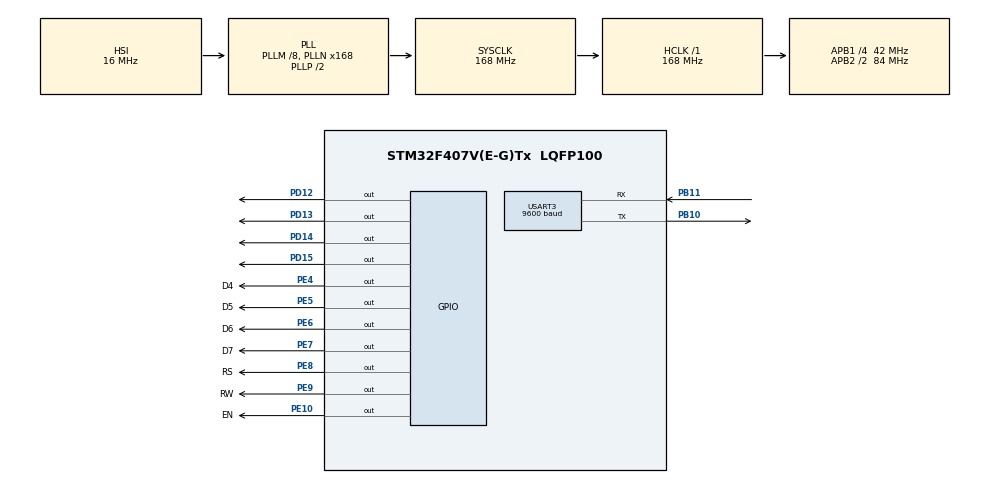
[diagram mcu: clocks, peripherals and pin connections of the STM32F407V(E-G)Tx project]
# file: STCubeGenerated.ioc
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Dma.Request0=USART3_RX
Dma.Request1=USART3_TX
Dma.USART3_RX.0.Direction=DMA_PERIPH_TO_MEMORY
Dma.USART3_RX.0.FIFOMode=DMA_FIFOMODE_DISABLE
Dma.USART3_RX.0.Instance=DMA1_Stream1
Dma.USART3_RX.0.MemDataAlignment=DMA_MDATAALIGN_BYTE
Dma.USART3_RX.0.MemInc=DMA_MINC_ENABLE
Dma.USART3_RX.0.Mode=DMA_CIRCULAR
Dma.USART3_RX.0.PeriphDataAlignment=DMA_PDATAALIGN_BYTE
Dma.USART3_RX.0.PeriphInc=DMA_PINC_DISABLE
Dma.USART3_RX.0.Priority=DMA_PRIORITY_LOW
Dma.USART3_TX.1.Direction=DMA_MEMORY_TO_PERIPH
Dma.USART3_TX.1.FIFOMode=DMA_FIFOMODE_DISABLE
Dma.USART3_TX.1.Instance=DMA1_Stream3
Dma.USART3_TX.1.MemDataAlignment=DMA_MDATAALIGN_BYTE
Dma.USART3_TX.1.MemInc=DMA_MINC_ENABLE
Dma.USART3_TX.1.Mode=DMA_CIRCULAR
Dma.USART3_TX.1.PeriphDataAlignment=DMA_PDATAALIGN_BYTE
Dma.USART3_TX.1.PeriphInc=DMA_PINC_DISABLE
Dma.USART3_TX.1.Priority=DMA_PRIORITY_LOW
Mcu.Family=STM32F4
Mcu.Name=STM32F407V(E-G)Tx
Mcu.Package=LQFP100
NVIC.DMA1_Stream1_IRQn=true\:1\:0\:true\:false\:true\:false\:true\:true
NVIC.DMA1_Stream3_IRQn=true\:0\:0\:true\:false\:true\:false\:true\:true
NVIC.PriorityGroup=NVIC_PRIORITYGROUP_4
PB10.Mode=Asynchronous
PB10.Signal=USART3_TX
PB11.Mode=Asynchronous
PB11.Signal=USART3_RX
PD12.Signal=GPIO_Output
PD13.Signal=GPIO_Output
PD14.Signal=GPIO_Output
PD15.Signal=GPIO_Output
PE10.GPIO_Label=EN
PE10.GPIO_ModeDefaultOutputPP=GPIO_MODE_OUTPUT_PP
PE10.GPIO_PuPd=GPIO_NOPULL
PE10.Signal=GPIO_Output
PE4.GPIO_Label=D4
PE4.GPIO_ModeDefaultOutputPP=GPIO_MODE_OUTPUT_PP
PE4.GPIO_PuPd=GPIO_NOPULL
PE4.Signal=GPIO_Output
PE5.GPIO_Label=D5
PE5.GPIO_ModeDefaultOutputPP=GPIO_MODE_OUTPUT_PP
PE5.GPIO_PuPd=GPIO_NOPULL
PE5.Signal=GPIO_Output
PE6.GPIO_Label=D6
PE6.GPIO_ModeDefaultOutputPP=GPIO_MODE_OUTPUT_PP
PE6.GPIO_PuPd=GPIO_NOPULL
PE6.Signal=GPIO_Output
PE7.GPIO_Label=D7
PE7.GPIO_ModeDefaultOutputPP=GPIO_MODE_OUTPUT_PP
PE7.GPIO_PuPd=GPIO_NOPULL
PE7.Signal=GPIO_Output
PE8.GPIO_Label=RS
PE8.GPIO_ModeDefaultOutputPP=GPIO_MODE_OUTPUT_PP
PE8.GPIO_PuPd=GPIO_NOPULL
PE8.Signal=GPIO_Output
PE9.GPIO_Label=RW
PE9.GPIO_ModeDefaultOutputPP=GPIO_MODE_OUTPUT_PP
PE9.GPIO_PuPd=GPIO_NOPULL
PE9.Signal=GPIO_Output
PH0-OSC_IN.Mode=HSE-External-Oscillator
PH0-OSC_IN.Signal=RCC_OSC_IN
PH1-OSC_OUT.Mode=HSE-External-Oscillator
PH1-OSC_OUT.Signal=RCC_OSC_OUT
ProjectManager.HeapSize=0x200
ProjectManager.StackSize=0x400
ProjectManager.TargetToolchain=MDK-ARM V5
RCC.48MHZClocksFreq_Value=84000000
RCC.AHBFreq_Value=168000000
RCC.APB1CLKDivider=RCC_HCLK_DIV4
RCC.APB1Freq_Value=42000000
RCC.APB1TimFreq_Value=84000000
RCC.APB2CLKDivider=RCC_HCLK_DIV2
RCC.APB2Freq_Value=84000000
RCC.APB2TimFreq_Value=168000000
RCC.CortexFreq_Value=168000000
RCC.HCLKFreq_Value=168000000
RCC.HSE_VALUE=8000000
RCC.HSI_VALUE=16000000
RCC.LSE_VALUE=32768
RCC.PLLM=8
RCC.PLLN=168
RCC.SYSCLKFreq_VALUE=168000000
RCC.SYSCLKSource=RCC_SYSCLKSOURCE_PLLCLK
RCC.VCOOutputFreq_Value=336000000
USART3.BaudRate=9600
USART3.VirtualMode=VM_ASYNC
board=custom

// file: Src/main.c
/* USER CODE BEGIN Header */
/**
  ******************************************************************************
  * @file           : main.c
  * @brief          : Main program body
  ******************************************************************************
  * @attention
  *
  * Copyright (c) 2023 STMicroelectronics.
  * All rights reserved.
  *
  * This software is licensed under terms that can be found in the LICENSE file
  * in the root directory of this software component.
  * If no LICENSE file comes with this software, it is provided AS-IS.
  *
  ******************************************************************************
  */
/* USER CODE END Header */
#include "main.h"

/* USER CODE BEGIN Includes */
#include "lcd.h"
#include "stdio.h"

/* USER CODE END Includes */

UART_HandleTypeDef huart3;
DMA_HandleTypeDef hdma_usart3_rx;
DMA_HandleTypeDef hdma_usart3_tx;

void SystemClock_Config(void);
static void MX_GPIO_Init(void);
static void MX_DMA_Init(void);
static void MX_USART3_UART_Init(void);

/* USER CODE BEGIN 0 */

#define bufferSizeTx 8
#define bufferSizeRx 4

	uint8_t send[bufferSizeTx];
	uint8_t receive[bufferSizeTx];

void HAL_UART_TxHalfCpltCallback(UART_HandleTypeDef *huart)
{
  for (int i=0; i<4; i++)
    {
			send[i] = 'z';
    }

}

void HAL_UART_TxCpltCallback(UART_HandleTypeDef *huart)
{

    for (int i=0; i<4; i++)
    {
			send[i] = 'Q';
    }

}

/*
void HAL_UART_RxHalfCpltCallback(UART_HandleTypeDef *huart)
{
	//HAL_UART_Receive_DMA(&huart3, receive, 3);
  HAL_GPIO_TogglePin (GPIOD, GPIO_PIN_13);  // toggle PA0
}
*/

void HAL_UART_RxCpltCallback(UART_HandleTypeDef *huart)
{
  HAL_UART_Receive_DMA(&huart3, receive, bufferSizeRx); //sizeof(receive));
}

/* USER CODE END 0 */

int main(void)
{

  /* MCU Configuration--------------------------------------------------------*/

  /* Reset of all peripherals, Initializes the Flash interface and the Systick. */
  HAL_Init();

  /* Configure the system clock */
  SystemClock_Config();

  /* Initialize all configured peripherals */
  MX_GPIO_Init();
  MX_DMA_Init();
  MX_USART3_UART_Init();
  /* USER CODE BEGIN 2 */

	// lcd_init
	Lcd_HandleTypeDef lcd;
	HAL_GPIO_WritePin(RW_GPIO_Port, RW_Pin, 0);
	Lcd_PortType ports[] = { D4_GPIO_Port, D5_GPIO_Port, D6_GPIO_Port, D7_GPIO_Port };
	Lcd_PinType pins[] = {D4_Pin, D5_Pin, D6_Pin, D7_Pin};
	// declared as global
	// Lcd_HandleTypeDef lcd;
	lcd = Lcd_create(ports, pins, RS_GPIO_Port, RS_Pin, EN_GPIO_Port, EN_Pin, LCD_4_BIT_MODE);

	// write something and wait 3sec
	Lcd_string(&lcd, "BANU Embedded Sys.");
	Lcd_cursor(&lcd, 1,6);
	Lcd_int(&lcd, 2023);
	HAL_Delay(1000);
	Lcd_clear(&lcd);

  /* USER CODE END 2 */

  /* Infinite loop */
  /* USER CODE BEGIN WHILE */

	char str[16];

	HAL_UART_Transmit_DMA(&huart3, send, sizeof(send));
	HAL_UART_Receive_DMA (&huart3, receive, bufferSizeRx);

  while (1)
  {

		HAL_GPIO_TogglePin(GPIOD, GPIO_PIN_15);
		HAL_Delay(10);

		// Lcd_clear(&lcd);
		Lcd_cursor(&lcd, 0,0);
		snprintf(str, 16, "sent: %s", send);
		Lcd_string(&lcd, str);

		Lcd_cursor(&lcd, 1,0);
		snprintf(str, 16, "rcvd: %s", receive);
		Lcd_string(&lcd, str);

		HAL_Delay (1000);

    /* USER CODE END WHILE */

  }
}

void SystemClock_Config(void)
{
  RCC_OscInitTypeDef RCC_OscInitStruct = {0};
  RCC_ClkInitTypeDef RCC_ClkInitStruct = {0};

  /** Configure the main internal regulator output voltage
  */
  __HAL_RCC_PWR_CLK_ENABLE();
  __HAL_PWR_VOLTAGESCALING_CONFIG(PWR_REGULATOR_VOLTAGE_SCALE1);

  /** Initializes the RCC Oscillators according to the specified parameters
  * in the RCC_OscInitTypeDef structure.
  */
  RCC_OscInitStruct.OscillatorType = RCC_OSCILLATORTYPE_HSI;
  RCC_OscInitStruct.HSIState = RCC_HSI_ON;
  RCC_OscInitStruct.HSICalibrationValue = RCC_HSICALIBRATION_DEFAULT;
  RCC_OscInitStruct.PLL.PLLState = RCC_PLL_ON;
  RCC_OscInitStruct.PLL.PLLSource = RCC_PLLSOURCE_HSI;
  RCC_OscInitStruct.PLL.PLLM = 8;
  RCC_OscInitStruct.PLL.PLLN = 168;
  RCC_OscInitStruct.PLL.PLLP = RCC_PLLP_DIV2;
  RCC_OscInitStruct.PLL.PLLQ = 4;
  if (HAL_RCC_OscConfig(&RCC_OscInitStruct) != HAL_OK)
  {
    Error_Handler();
  }

  /** Initializes the CPU, AHB and APB buses clocks
  */
  RCC_ClkInitStruct.ClockType = RCC_CLOCKTYPE_HCLK|RCC_CLOCKTYPE_SYSCLK
                              |RCC_CLOCKTYPE_PCLK1|RCC_CLOCKTYPE_PCLK2;
  RCC_ClkInitStruct.SYSCLKSource = RCC_SYSCLKSOURCE_PLLCLK;
  RCC_ClkInitStruct.AHBCLKDivider = RCC_SYSCLK_DIV1;
  RCC_ClkInitStruct.APB1CLKDivider = RCC_HCLK_DIV4;
  RCC_ClkInitStruct.APB2CLKDivider = RCC_HCLK_DIV2;

  if (HAL_RCC_ClockConfig(&RCC_ClkInitStruct, FLASH_LATENCY_5) != HAL_OK)
  {
    Error_Handler();
  }
}

static void MX_USART3_UART_Init(void)
{

  huart3.Instance = USART3;
  huart3.Init.BaudRate = 9600;
  huart3.Init.WordLength = UART_WORDLENGTH_8B;
  huart3.Init.StopBits = UART_STOPBITS_1;
  huart3.Init.Parity = UART_PARITY_NONE;
  huart3.Init.Mode = UART_MODE_TX_RX;
  huart3.Init.HwFlowCtl = UART_HWCONTROL_NONE;
  huart3.Init.OverSampling = UART_OVERSAMPLING_16;
  if (HAL_UART_Init(&huart3) != HAL_OK)
  {
    Error_Handler();
  }

}

static void MX_DMA_Init(void)
{

  /* DMA controller clock enable */
  __HAL_RCC_DMA1_CLK_ENABLE();

  /* DMA interrupt init */
  /* DMA1_Stream1_IRQn interrupt configuration */
  HAL_NVIC_SetPriority(DMA1_Stream1_IRQn, 1, 0);
  HAL_NVIC_EnableIRQ(DMA1_Stream1_IRQn);
  /* DMA1_Stream3_IRQn interrupt configuration */
  HAL_NVIC_SetPriority(DMA1_Stream3_IRQn, 0, 0);
  HAL_NVIC_EnableIRQ(DMA1_Stream3_IRQn);

}

static void MX_GPIO_Init(void)
{
  GPIO_InitTypeDef GPIO_InitStruct = {0};

  /* GPIO Ports Clock Enable */
  __HAL_RCC_GPIOE_CLK_ENABLE();
  __HAL_RCC_GPIOH_CLK_ENABLE();
  __HAL_RCC_GPIOB_CLK_ENABLE();
  __HAL_RCC_GPIOD_CLK_ENABLE();

  /*Configure GPIO pin Output Level */
  HAL_GPIO_WritePin(GPIOE, D4_Pin|D5_Pin|D6_Pin|D7_Pin
                          |RS_Pin|RW_Pin|EN_Pin, GPIO_PIN_RESET);

  /*Configure GPIO pin Output Level */
  HAL_GPIO_WritePin(GPIOD, GPIO_PIN_12|GPIO_PIN_13|GPIO_PIN_14|GPIO_PIN_15, GPIO_PIN_RESET);

  /*Configure GPIO pins : D4_Pin D5_Pin D6_Pin D7_Pin
                           RS_Pin RW_Pin EN_Pin */
  GPIO_InitStruct.Pin = D4_Pin|D5_Pin|D6_Pin|D7_Pin
                          |RS_Pin|RW_Pin|EN_Pin;
  GPIO_InitStruct.Mode = GPIO_MODE_OUTPUT_PP;
  GPIO_InitStruct.Pull = GPIO_NOPULL;
  GPIO_InitStruct.Speed = GPIO_SPEED_FREQ_LOW;
  HAL_GPIO_Init(GPIOE, &GPIO_InitStruct);

  /*Configure GPIO pins : PD12 PD13 PD14 PD15 */
  GPIO_InitStruct.Pin = GPIO_PIN_12|GPIO_PIN_13|GPIO_PIN_14|GPIO_PIN_15;
  GPIO_InitStruct.Mode = GPIO_MODE_OUTPUT_PP;
  GPIO_InitStruct.Pull = GPIO_NOPULL;
  GPIO_InitStruct.Speed = GPIO_SPEED_FREQ_LOW;
  HAL_GPIO_Init(GPIOD, &GPIO_InitStruct);

}

void Error_Handler(void)
{
  __disable_irq();
  while (1)
  {
  }
}
